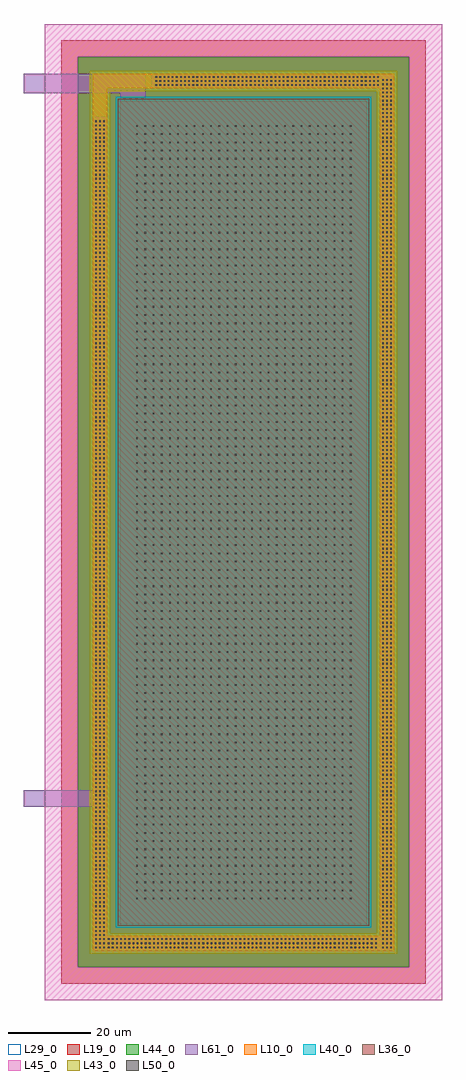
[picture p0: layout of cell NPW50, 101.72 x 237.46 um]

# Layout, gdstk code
from math import pi, radians
import gdstk
lib = gdstk.Library(unit=1e-6, precision=1e-09)
def R(c, l, rs):  # rectangles x0, y0, x1, y1
    for r in rs: c.add(gdstk.rectangle(r[:2], r[2:], *l))
def P(c, l, *ps):  # polygons
    for p in ps: c.add(gdstk.Polygon(p, *l))
L10_0 = (10, 0)
L19_0 = (19, 0)
L29_0 = (29, 0)
L36_0 = (36, 0)
L40_0 = (40, 0)
L43_0 = (43, 0)
L44_0 = (44, 0)
L45_0 = (45, 0)
L50_0 = (50, 0)
L61_0 = (61, 0)

contact_04 = lib.new_cell('contact_04')
R(contact_04, L50_0, [(0,0,0.4,0.4)])

npw50 = lib.new_cell('NPW50')
R(npw50, L10_0, [(23.885,25.91,83.885,225.91)])
P(npw50, L10_0, [(17.185,19.21),(17.185,232.61),(90.585,232.61),(90.585,125.9),(86.985,125.9),(86.985,229.01),(20.785,229.01),(20.785,22.81),(86.985,22.81),(86.985,125.9),(90.585,125.9),(90.585,19.21)])
R(npw50, L19_0, [(9.585,11.21,98.19,240.67)])
R(npw50, L29_0, [(5.585,7.21,102.19,244.67)])
R(npw50, L36_0, [(23.285,25.31,84.485,226.51)])
R(npw50, L40_0, [(22.785,24.81,84.985,227.01)])
P(npw50, L43_0, [(16.485,18.51),(16.485,233.31),(91.285,233.31),(91.285,125.9),(86.285,125.9),(86.285,228.31),(21.485,228.31),(21.485,23.51),(86.285,23.51),(86.285,125.9),(91.285,125.9),(91.285,18.51)])
R(npw50, L44_0, [(13.585,15.21,94.19,236.67)])
P(npw50, L45_0, [(5.585,7.21),(5.585,244.67),(102.19,244.67),(102.19,125),(94.19,125),(94.19,236.67),(13.585,236.67),(13.585,15.21),(94.19,15.21),(94.19,125),(102.19,125),(102.19,7.21)])
R(npw50, L61_0, [(23.885,25.91,83.885,225.91), (0.47,54.245,19.425,58.245)])
P(npw50, L61_0, [(23.885,225.585),(23.885,227.82),(0.47,227.82),(0.47,232.61),(30.085,232.61),(30.085,225.585)],
  [(17.185,19.21),(17.185,222.085),(20.785,222.085),(20.785,22.81),(86.985,22.81),(86.985,229.01),(31.435,229.01),(31.435,232.61),(90.585,232.61),(90.585,19.21)])
r = gdstk.Reference(contact_04, (86.29,19.81), rotation=pi/2); r.repetition = gdstk.Repetition(3, 66, v1=(0,1), v2=(-1,0)); npw50.add(r)
r = gdstk.Reference(contact_04, (87.585,19.81)); r.repetition = gdstk.Repetition(3, 212, v1=(1,0), v2=(0,1)); npw50.add(r)
r = gdstk.Reference(contact_04, (86.845,232.01), rotation=3*pi/2, x_reflection=True); r.repetition = gdstk.Repetition(3, 55, v1=(0,-1), v2=(-1,0)); npw50.add(r)
r = gdstk.Reference(contact_04, (27.79,31.67)); r.repetition = gdstk.Repetition(27, 95, v1=(2,0), v2=(0,2)); npw50.add(r)
r = gdstk.Reference(contact_04, (17.785,19.81)); r.repetition = gdstk.Repetition(3, 202, v1=(1,0), v2=(0,1)); npw50.add(r)

lib.write_gds('NPW50.gds')
